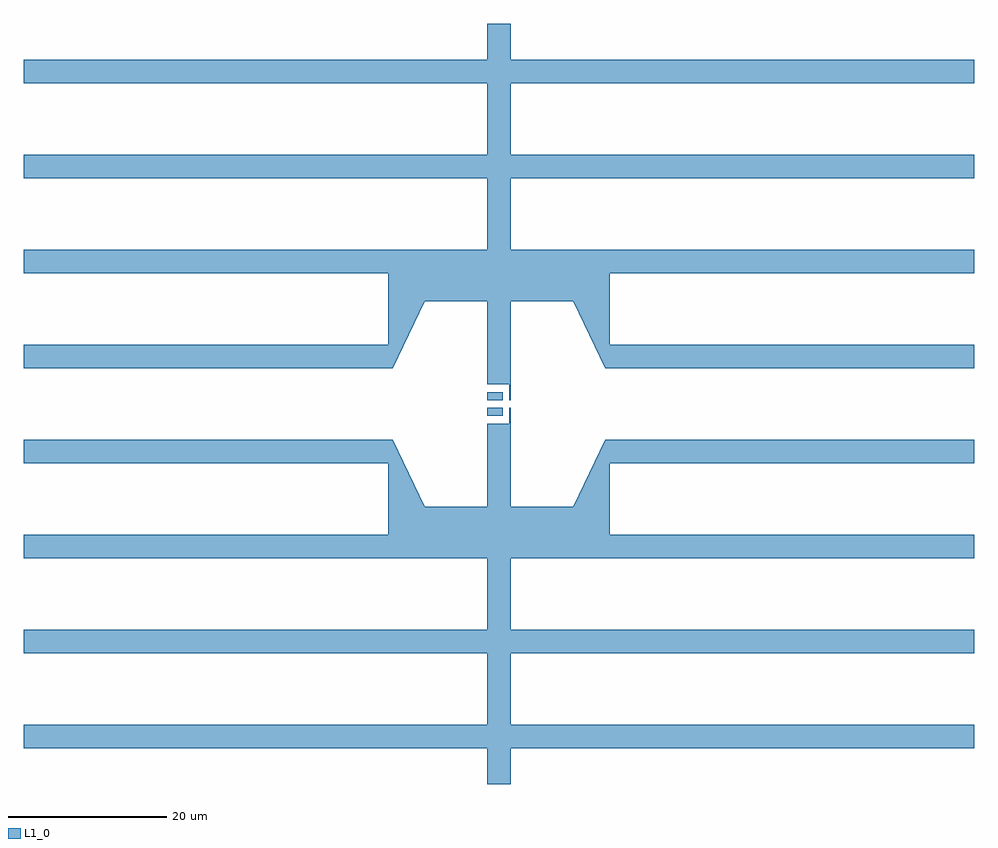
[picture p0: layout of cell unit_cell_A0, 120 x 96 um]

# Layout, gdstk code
from math import pi, radians
import gdstk
lib = gdstk.Library(unit=1e-6, precision=1e-09)
def R(c, l, rs):  # rectangles x0, y0, x1, y1
    for r in rs: c.add(gdstk.rectangle(r[:2], r[2:], *l))
def P(c, l, *ps):  # polygons
    for p in ps: c.add(gdstk.Polygon(p, *l))
L1_0 = (1, 0)

unnamed_973 = lib.new_cell('Unnamed_973')
P(unnamed_973, L1_0, [(58.5,0),(58.5,4.5),(0,4.5),(0,7.5),(58.5,7.5),(58.5,16.5),(0,16.5),(0,19.5),(58.5,19.5),(58.5,28.5),(0,28.5),(0,31.5),(46,31.5),(46,40.5),(0,40.5),(0,43.5),(46.597,43.5),(50.596,35),(58.5,35),(58.5,45.5),(60,45.5),(60,0)])

unnamed_974 = lib.new_cell('Unnamed_974')
unnamed_974.add(gdstk.Reference(unnamed_973, (0,0)))

rectangle_s2_1_lwg_cfal_ = lib.new_cell('rectangle_S2_1_LWG_CFal_a0a9c26d')
R(rectangle_s2_1_lwg_cfal_, L1_0, [(0,0,2,1)])

rectangle_s0p2_2_lwg_cf_ = lib.new_cell('rectangle_S0p2_2_LWG_CF_9ef6d549')
R(rectangle_s0p2_2_lwg_cf_, L1_0, [(0,0,0.2,2)])

unnamed_975 = lib.new_cell('Unnamed_975')
unnamed_975.add(gdstk.Reference(rectangle_s2_1_lwg_cfal_, (0,-1.5)))
unnamed_975.add(gdstk.Reference(rectangle_s0p2_2_lwg_cf_, (2.8,-2.5)))

unit_cell_a0 = lib.new_cell('unit_cell_A0')
unit_cell_a0.add(gdstk.Reference(unnamed_974, (0,0)))
unit_cell_a0.add(gdstk.Reference(unnamed_974, (120,0), rotation=pi, x_reflection=True))
unit_cell_a0.add(gdstk.Reference(unnamed_974, (0,96), x_reflection=True))
unit_cell_a0.add(gdstk.Reference(unnamed_974, (120,96), rotation=pi))
unit_cell_a0.add(gdstk.Reference(unnamed_975, (58.5,48)))
unit_cell_a0.add(gdstk.Reference(unnamed_975, (58.5,48), x_reflection=True))

lib.write_gds('unit_cell_A0.gds')
